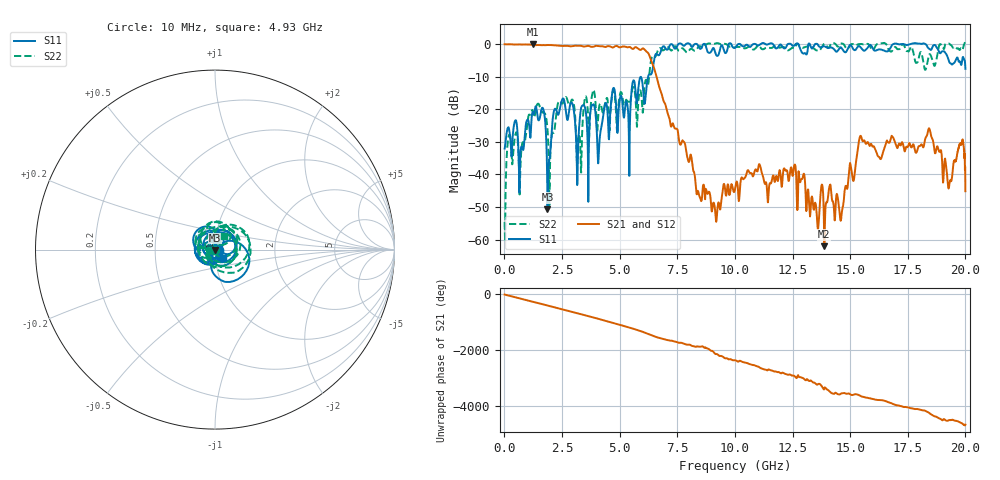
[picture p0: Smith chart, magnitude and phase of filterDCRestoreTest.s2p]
!  .\\filter.s2p
!  written by LeCroy Virtual Probe(tm)
!  freq S11 S21
!  S12 S22
# MHz S MA R 50.0
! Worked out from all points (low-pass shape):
!   2000 points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, 10 MHz to 20 GHz, reference 50 ohm
!   highest |S21| = -0.06 dB at 1.25 GHz (marker M1); lowest = -62.0 dB at 13.88 GHz (marker M2)
!   |S21| within 3 dB of the highest: start of sweep to 6.259 GHz
!   lowest |S11| = -50.7 dB at 1.87 GHz (marker M3), VSWR 1.01, Z = 50.1 - j0.252 ohm
!   |S11| at or under -10 dB: start of sweep to 6.237 GHz
!   |S22| runs from -60.5 to 1.1 dB; largest |S21 - S12| = 0
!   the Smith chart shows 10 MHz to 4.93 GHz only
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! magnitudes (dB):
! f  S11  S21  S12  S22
! 10 MHz  -32.1  -0.1  -0.1  -54.6
! 190 MHz  -25.7  -0.1  -0.1  -28.1
! 720 MHz  -32.0  -0.2  -0.2  -34.1
! 1.25 GHz  -21.2  -0.1  -0.1  -21.1
! 1.69 GHz  -20.0  -0.3  -0.3  -21.1
! 1.87 GHz  -50.7  -0.3  -0.3  -26.1
! 2.65 GHz  -19.7  -0.6  -0.6  -16.4
! 3.16 GHz  -43.2  -0.6  -0.6  -36.2
! 3.35 GHz  -19.2  -0.6  -0.6  -32.8
! 4.11 GHz  -31.5  -0.7  -0.7  -19.3
! 4.72 GHz  -13.6  -1.1  -1.1  -14.1
! 5.78 GHz  -16.2  -1.3  -1.3  -21.5
! 6.68 GHz  -3.5  -12.2  -12.2  -1.7
! 8.45 GHz  -1.2  -46.3  -46.3  -0.7
! 10.01 GHz  -1.2  -44.3  -44.3  -1.1
! 12.53 GHz  -0.6  -39.5  -39.5  -1.2
! 13.34 GHz  -1.4  -46.7  -46.7  -1.0
! 13.88 GHz  -0.7  -62.0  -62.0  0.0
! 14.63 GHz  -1.3  -52.3  -52.3  0.1
! 15.45 GHz  -1.0  -28.2  -28.2  0.0
! 16.67 GHz  -2.1  -30.3  -30.3  -1.7
! 20 GHz  -7.6  -45.1  -45.1  1.1
